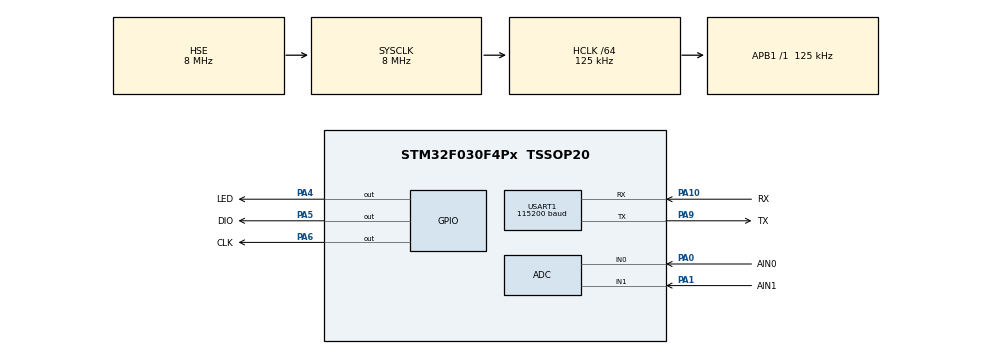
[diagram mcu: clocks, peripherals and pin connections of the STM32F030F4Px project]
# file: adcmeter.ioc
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Mcu.Family=STM32F0
RCC.PLLSourceVirtual=RCC_PLLSOURCE_HSE
TIM17.Prescaler=10
VP_TIM17_VS_ClockSourceINT.Mode=Enable_Timer
TIM3.Channel-Output\ Compare1\ No\ Output=TIM_CHANNEL_1
PA10.Mode=Asynchronous
Dma.ADC.0.Mode=DMA_CIRCULAR
TIM3.AutoReloadPreload=TIM_AUTORELOAD_PRELOAD_ENABLE
VP_ADC_TempSens_Input.Mode=IN-TempSens
USART1.BaudRate=115200
PA9.GPIO_Label=TX
VP_ADC_Vref_Input.Mode=IN-Vrefint
PA0.GPIO_Label=AIN0
Dma.ADC.0.Priority=DMA_PRIORITY_HIGH
ADC.LowPowerAutoWait=ENABLE
PA6.GPIO_Label=CLK
RCC.SYSCLKSource=RCC_SYSCLKSOURCE_HSE
ProjectManager.StackSize=0x400
Dma.ADC.0.PeriphDataAlignment=DMA_PDATAALIGN_HALFWORD
USART1.VirtualMode-Asynchronous=VM_ASYNC
PA13.Signal=SYS_SWDIO
TIM17.AutoReloadPreload=TIM_AUTORELOAD_PRELOAD_ENABLE
PA9.Mode=Asynchronous
NVIC.ADC1_IRQn=true\:0\:0\:false\:false\:true\:true\:true
ProjectManager.TargetToolchain=SW4STM32
Dma.ADC.0.PeriphInc=DMA_PINC_DISABLE
NVIC.TIM17_IRQn=true\:0\:0\:false\:false\:true\:true\:true
RCC.HCLKFreq_Value=125000
TIM3.Period=32
PA9.Signal=USART1_TX
RCC.PLLDivider=RCC_PREDIV_DIV16
TIM3.Pulse-Output\ Compare1\ No\ Output=1
PA1.Signal=ADC_IN1
RCC.AHBFreq_Value=125000
PF0-OSC_IN.Mode=HSE-External-Oscillator
Dma.ADC.0.Direction=DMA_PERIPH_TO_MEMORY
ADC.SamplingTime=ADC_SAMPLETIME_55CYCLES_5
PA5.Signal=GPIO_Output
ADC.DMAContinuousRequests=ENABLE
board=custom
VP_TIM3_VS_no_output1.Mode=Output Compare1 No Output
RCC.Usart1ClockSelection=RCC_USART1CLKSOURCE_HSI
RCC.PLLMUL=RCC_PLL_MUL4
NVIC.TIM3_IRQn=true\:0\:0\:false\:false\:true\:true\:true
TIM17.Period=10
PA1.Mode=IN1
TIM3.OCMode_1=TIM_OCMODE_TIMING
PA14.Mode=Serial_Wire
TIM3.Prescaler=1000
PA1.GPIO_Label=AIN1
PA0.Mode=IN0
PA10.GPIO_Label=RX
ADC.EOCSelection=ADC_EOC_SEQ_CONV
RCC.AHBCLKDivider=RCC_SYSCLK_DIV64
PA13.Mode=Serial_Wire
Mcu.Name=STM32F030F4Px
PA0.Signal=ADC_IN0
Dma.ADC.0.MemInc=DMA_MINC_ENABLE
PA4.Signal=GPIO_Output
RCC.SYSCLKFreq_VALUE=8000000
Mcu.Package=TSSOP20
PA6.Signal=GPIO_Output
PA5.GPIO_Label=DIO
RCC.EnbaleCSS=true
TIM3.TIM_MasterSlaveMode=TIM_MASTERSLAVEMODE_DISABLE
Dma.ADC.0.Instance=DMA1_Channel1
PA10.Signal=USART1_RX
PA14.Signal=SYS_SWCLK
ProjectManager.HeapSize=0x200
Dma.ADC.0.MemDataAlignment=DMA_MDATAALIGN_HALFWORD
RCC.APB1TimFreq_Value=125000
NVIC.DMA1_Channel1_IRQn=true\:0\:0\:false\:false\:true\:false\:true
PF0-OSC_IN.Signal=RCC_OSC_IN
TIM3.TIM_MasterOutputTrigger=TIM_TRGO_UPDATE
NVIC.USART1_IRQn=true\:0\:0\:false\:false\:true\:true\:true
PF1-OSC_OUT.Mode=HSE-External-Oscillator
Dma.Request0=ADC
RCC.APB1Freq_Value=125000
ADC.ContinuousConvMode=DISABLE
PA4.GPIO_Label=LED
ADC.ExternalTrigConv=ADC_EXTERNALTRIGCONV_T3_TRGO
PF1-OSC_OUT.Signal=RCC_OSC_OUT

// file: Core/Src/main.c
/* USER CODE BEGIN Header */
/**
  ******************************************************************************
  * @file           : main.c
  * @brief          : Main program body
  ******************************************************************************
  * @attention
  *
  * <h2><center>&copy; Copyright (c) 2019 STMicroelectronics.
  * All rights reserved.</center></h2>
  *
  * This software component is licensed by ST under BSD 3-Clause license,
  * the "License"; You may not use this file except in compliance with the
  * License. You may obtain a copy of the License at:
  *                        opensource.org/licenses/BSD-3-Clause
  *
  ******************************************************************************
  */
/* USER CODE END Header */

#include "main.h"
#include "adc.h"
#include "dma.h"
#include "tim.h"
#include "usart.h"
#include "gpio.h"

/* USER CODE BEGIN Includes */
#include "stm32_tm1637.h"
/* USER CODE END Includes */

void SystemClock_Config(void);
/* USER CODE BEGIN PFP */
void EnableDebugRX(void) {
    SET_BIT(huart1.Instance->CR1, USART_CR1_RXNEIE);
}

void DisableDebugRX(void) {
    CLEAR_BIT(huart1.Instance->CR1, USART_CR1_RXNEIE);
}
/* USER CODE END PFP */

int main(void)
{
  /* USER CODE BEGIN 1 */
    HAL_ADC_ConvCpltCallback(&hadc);

  /* USER CODE END 1 */

  /* MCU Configuration--------------------------------------------------------*/

  /* Reset of all peripherals, Initializes the Flash interface and the Systick. */
  HAL_Init();

  /* USER CODE BEGIN Init */
    uint16_t time;
  /* USER CODE END Init */

  /* Configure the system clock */
  SystemClock_Config();

  /* Initialize all configured peripherals */
  MX_GPIO_Init();
  MX_DMA_Init();
  MX_ADC_Init();
  MX_TIM3_Init();
  MX_TIM17_Init();
  MX_USART1_UART_Init();
  /* USER CODE BEGIN 2 */

    HAL_TIM_Base_Start_IT(&htim3);
    HAL_TIM_Base_Start_IT(&htim17);

    HAL_ADCEx_Calibration_Start(&hadc);
    hadc.Instance->IER |= ADC_IER_EOSIE | ADC_IER_EOCIE;

    time = HAL_ADC_Start_DMA(&hadc, (uint32_t *) adcIntValues, 4);

    HAL_UART_MspInit(&huart1);

    tm1637Init();
    tm1637SetBrightness(8);
    tm1637DisplayDecimal(time, 0);

  /* USER CODE END 2 */

  /* Infinite loop */
  /* USER CODE BEGIN WHILE */
#pragma clang diagnostic push
#pragma clang diagnostic ignored "-Wmissing-noreturn"
    while (1) {
        if (adc_busy) {
            HAL_GPIO_WritePin(LED_GPIO_Port, LED_Pin, GPIO_PIN_RESET);
            tm1637DisplayDecimal(adcIntValues[3], 0);
            adc_busy = 0;
            HAL_GPIO_WritePin(LED_GPIO_Port, LED_Pin, GPIO_PIN_SET);
        }
    /* USER CODE END WHILE */

    /* USER CODE BEGIN 3 */
    }
#pragma clang diagnostic pop
  /* USER CODE END 3 */
}

void SystemClock_Config(void)
{
  RCC_OscInitTypeDef RCC_OscInitStruct = {0};
  RCC_ClkInitTypeDef RCC_ClkInitStruct = {0};
  RCC_PeriphCLKInitTypeDef PeriphClkInit = {0};

  /** Initializes the CPU, AHB and APB busses clocks
  */
  RCC_OscInitStruct.OscillatorType = RCC_OSCILLATORTYPE_HSI|RCC_OSCILLATORTYPE_HSI14
                              |RCC_OSCILLATORTYPE_HSE;
  RCC_OscInitStruct.HSEState = RCC_HSE_ON;
  RCC_OscInitStruct.HSIState = RCC_HSI_ON;
  RCC_OscInitStruct.HSI14State = RCC_HSI14_ON;
  RCC_OscInitStruct.HSICalibrationValue = RCC_HSICALIBRATION_DEFAULT;
  RCC_OscInitStruct.HSI14CalibrationValue = 16;
  RCC_OscInitStruct.PLL.PLLState = RCC_PLL_NONE;
  if (HAL_RCC_OscConfig(&RCC_OscInitStruct) != HAL_OK)
  {
    Error_Handler();
  }
  /** Initializes the CPU, AHB and APB busses clocks
  */
  RCC_ClkInitStruct.ClockType = RCC_CLOCKTYPE_HCLK|RCC_CLOCKTYPE_SYSCLK
                              |RCC_CLOCKTYPE_PCLK1;
  RCC_ClkInitStruct.SYSCLKSource = RCC_SYSCLKSOURCE_HSE;
  RCC_ClkInitStruct.AHBCLKDivider = RCC_SYSCLK_DIV64;
  RCC_ClkInitStruct.APB1CLKDivider = RCC_HCLK_DIV1;

  if (HAL_RCC_ClockConfig(&RCC_ClkInitStruct, FLASH_LATENCY_0) != HAL_OK)
  {
    Error_Handler();
  }
  PeriphClkInit.PeriphClockSelection = RCC_PERIPHCLK_USART1;
  PeriphClkInit.Usart1ClockSelection = RCC_USART1CLKSOURCE_HSI;
  if (HAL_RCCEx_PeriphCLKConfig(&PeriphClkInit) != HAL_OK)
  {
    Error_Handler();
  }
  /** Enables the Clock Security System
  */
  HAL_RCC_EnableCSS();
}

void Error_Handler(void)
{
}

/************************ (C) COPYRIGHT STMicroelectronics *****END OF FILE****/
